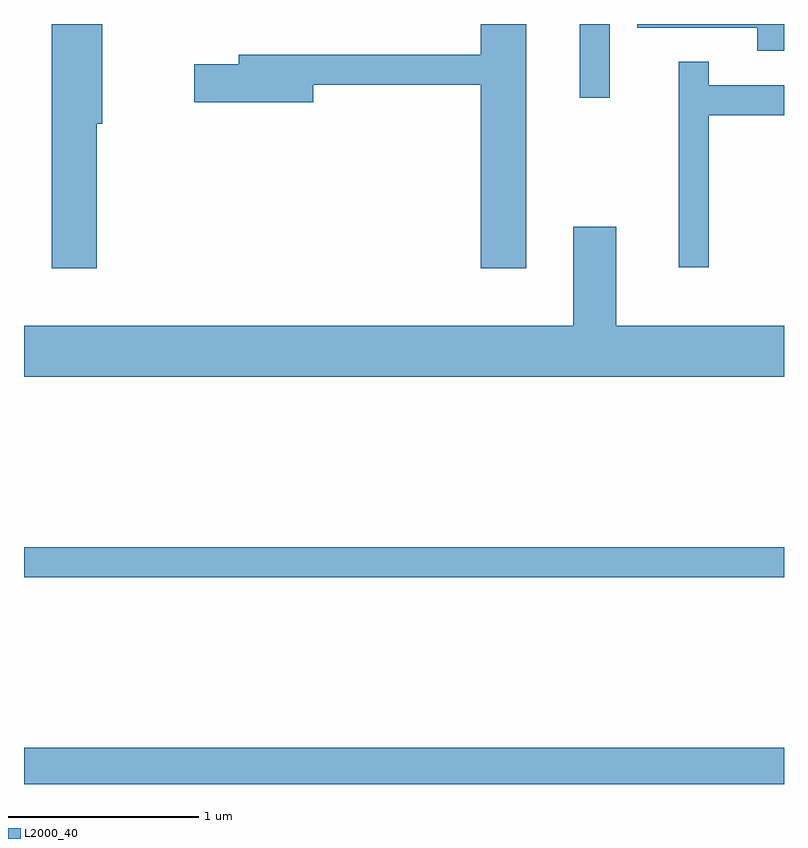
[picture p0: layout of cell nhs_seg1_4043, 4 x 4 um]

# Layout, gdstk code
import gdstk
lib = gdstk.Library(unit=1e-6, precision=1e-09)
def R(c, l, rs):  # rectangles x0, y0, x1, y1
    for r in rs: c.add(gdstk.rectangle(r[:2], r[2:], *l))
def P(c, l, *ps):  # polygons
    for p in ps: c.add(gdstk.Polygon(p, *l))
L2000_40 = (2000, 40)

nhs_seg1_4043 = lib.new_cell('nhs_seg1_4043')
R(nhs_seg1_4043, L2000_40, [(307.611,839.712,311.611,839.904), (307.611,840.801,311.611,840.959), (310.536,843.323,310.694,843.712)])
P(nhs_seg1_4043, L2000_40, [(310.254,843.712),(310.016,843.712),(310.016,843.549),(308.741,843.549),(308.741,843.499),(308.506,843.499),(308.506,843.301),(309.134,843.301),(309.134,843.391),(310.016,843.391),(310.016,842.426),(310.254,842.426)],
  [(307.994,843.186),(308.024,843.186),(308.024,843.712),(307.756,843.712),(307.756,842.426),(307.994,842.426)],
  [(311.611,843.712),(310.838,843.712),(310.838,843.691),(311.471,843.691),(311.471,843.571),(311.611,843.571)],
  [(311.214,843.231),(311.611,843.231),(311.611,843.389),(311.214,843.389),(311.214,843.513),(311.056,843.513),(311.056,842.433),(311.214,842.433)],
  [(311.611,842.124),(310.729,842.124),(310.729,842.644),(310.501,842.644),(310.501,842.124),(307.611,842.124),(307.611,841.856),(311.611,841.856)])

lib.write_gds('nhs_seg1_4043.gds')
